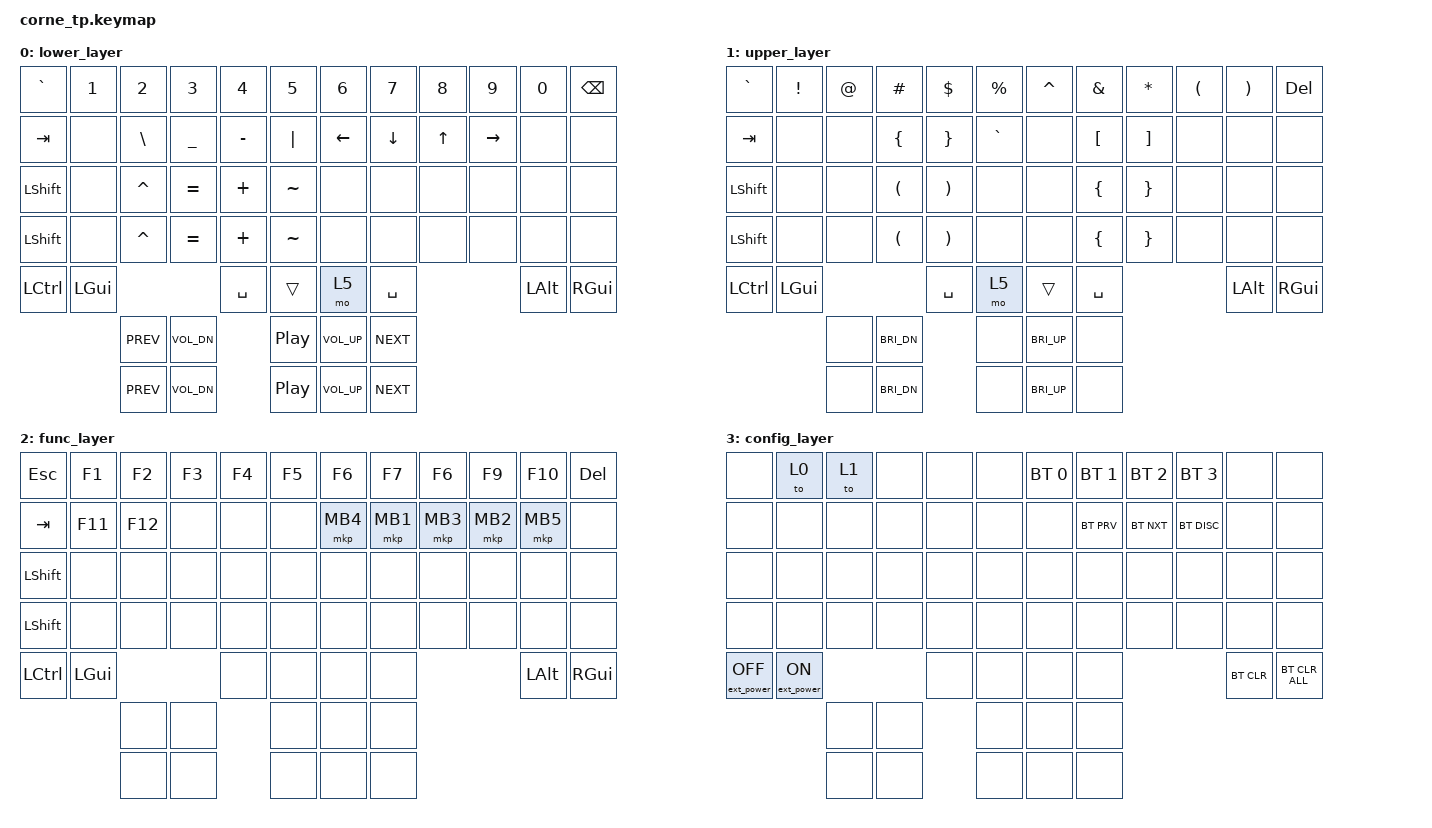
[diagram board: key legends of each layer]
/*
 * Copyright (c) 2020 The ZMK Contributors
 *
 * SPDX-License-Identifier: MIT
 */

#include <behaviors.dtsi>
#include <dt-bindings/zmk/keys.h>
#include <dt-bindings/zmk/bt.h>
#include <dt-bindings/zmk/mouse.h>
#include <dt-bindings/zmk/ext_power.h>



// Warning:
// This is the keymap file under the `zmk-config/boards/shields/corne/`
// directory.
//
// It's the default keymap that is only used if you don't have a custom one
// in zmk-config/config/corne.keymap.
//
// Instead of making changes to this keymap, you should edit the config
// mentioned above.
//
// If that one doesn't exist, copy this file to
// `zmk-config/config/your_keyboard.keymap` and make all keymap changes there.

/ {
        keymap {
                compatible = "zmk,keymap";

                default_layer {
   &kp GRAVE &kp N1   &kp N2    &kp N3    &kp N4    &kp N5        &kp N6   &kp N7    &kp N8  &kp N9    &kp N0   &kp BSPC
   &kp ESC   &kp Q    &kp W &kp E  &kp R     &kp T       &kp Y    &kp U &kp I     &kp O   &kp P    &kp BSPC
   &kp TAB   &kp A    &kp S &kp D  &kp F     &kp G       &kp H    &kp J &kp K     &kp L   &kp SEMI &kp SQT
   &kp LSHFT &kp Z    &kp X &kp C  &kp V     &kp B       &kp N    &kp M &kp COMMA &kp DOT &kp FSLH &kp ESC
   &kp LCTRL &kp LGUI              &kp SPACE &mo 2       &mo 3    &lt 4 RET               &kp LALT &kp RGUI
                                    // DPAD Left, Down, Middle, Up, Right
                        &kp LEFT  &kp DOWN  &kp C_MUTE   &kp UP &kp RIGHT
                        &kp LEFT  &kp DOWN  &kp C_MUTE   &kp UP &kp RIGHT
                        >;
                };
                lower_layer {
                        bindings = <
   &kp GRAVE &kp N1   &kp N2    &kp N3    &kp N4    &kp N5        &kp N6   &kp N7    &kp N8  &kp N9    &kp N0   &kp BSPC
   &kp TAB   &none    &kp BSLH  &kp UNDER &kp MINUS &kp PIPE      &kp LEFT &kp DOWN  &kp UP  &kp RIGHT &none    &none
   &kp LSHFT &none    &kp CARET &kp EQUAL &kp PLUS  &kp TILDE     &none    &none     &none   &none     &none    &none
   &kp LSHFT &none    &kp CARET &kp EQUAL &kp PLUS  &kp TILDE     &none    &none     &none   &none     &none    &none
   &kp LCTRL &kp LGUI                     &kp SPACE &trans        &mo 5    &kp SPACE                   &kp LALT &kp RGUI
                                    // DPAD Left, Down, Middle, Up, Right
                        &kp C_PREV &kp C_VOL_DN  &kp C_PP &kp C_VOL_UP &kp C_NEXT
                        &kp C_PREV &kp C_VOL_DN  &kp C_PP &kp C_VOL_UP &kp C_NEXT
                        >;
                };
                upper_layer {
                        bindings = <
   &kp GRAVE &kp EXCL &kp AT &kp HASH &kp DLLR  &kp PRCNT        &kp CARET &kp AMPS  &kp ASTRK &kp LPAR &kp RPAR &kp DEL
   &kp TAB   &none    &none  &kp LBRC &kp RBRC  &kp GRAVE        &none     &kp LBKT  &kp RBKT  &none    &none    &none
   &kp LSHFT &none    &none  &kp LPAR &kp RPAR  &none            &none     &kp LBRC  &kp RBRC  &none    &none    &none
   &kp LSHFT &none    &none  &kp LPAR &kp RPAR  &none            &none     &kp LBRC  &kp RBRC  &none    &none    &none
   &kp LCTRL &kp LGUI                 &kp SPACE &mo 5            &trans    &kp SPACE                    &kp LALT &kp RGUI
                                    // DPAD Left, Down, Middle, Up, Right
                                    &none &kp C_BRI_DN  &none &kp C_BRI_UP &none
                                    &none &kp C_BRI_DN  &none &kp C_BRI_UP &none
                        >;
                };
                func_layer {
                        bindings = <
   &kp ESC   &kp F1   &kp F2  &kp F3 &kp F4 &kp F5      &kp F6   &kp F7   &kp F6   &kp F9   &kp F10  &kp DEL
   &kp TAB   &kp F11  &kp F12 &none  &none  &none       &mkp MB4 &mkp MB1 &mkp MB3 &mkp MB2 &mkp MB5 &none
   &kp LSHFT &none    &none   &none  &none  &none       &none    &none    &none    &none    &none    &none
   &kp LSHFT &none    &none   &none  &none  &none       &none    &none    &none    &none    &none    &none
   &kp LCTRL &kp LGUI                &none  &none       &none    &none                      &kp LALT &kp RGUI
                                    // DPAD Left, Down, Middle, Up, Right
                                    // DPAD Left, Down, Middle, Up, Right
                                      &none &none &none &none &none
                                      &none &none &none &none &none
                        >;
                };config_layer {
                        bindings = <
   &none        &to 0       &to 1 &none &none &none           &bt BT_SEL 0 &bt BT_SEL 1 &bt BT_SEL 2 &bt BT_SEL 3 &none &none
   &none        &none       &none &none &none &none           &none        &bt BT_PRV   &bt BT_NXT   &bt BT_DISC  &none &none
   &none        &none       &none &none &none &none           &none        &none        &none        &none        &none &none
   &none        &none       &none &none &none &none           &none        &none        &none        &none        &none &none
   &ext_power EP_OFF &ext_power EP_ON   &none &none           &none        &none                  &bt BT_CLR   &bt BT_CLR_ALL
                                    // DPAD Left, Down, Middle, Up, Right
                                    // DPAD Left, Down, Middle, Up, Right
                                      &none &none &none &none &none
                                      &none &none &none &none &none
                        >;
                };
        };
};
